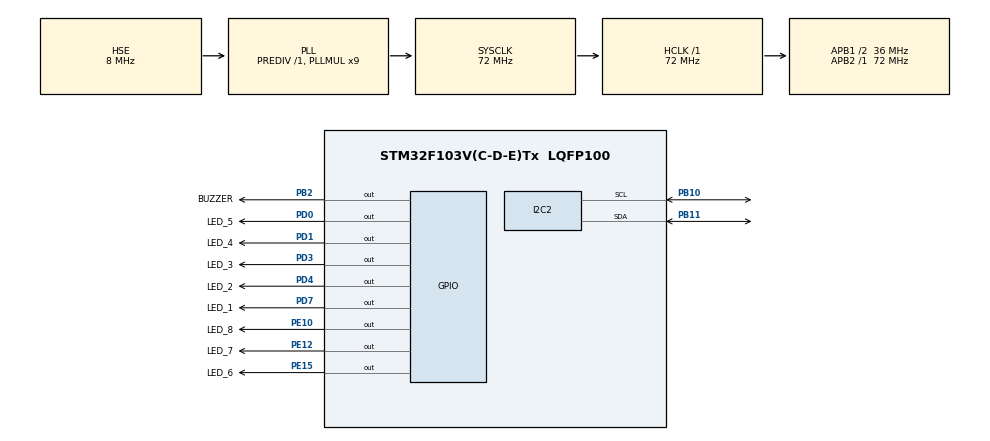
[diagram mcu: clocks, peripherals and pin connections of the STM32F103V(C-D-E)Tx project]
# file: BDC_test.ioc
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Mcu.Family=STM32F1
Mcu.Name=STM32F103V(C-D-E)Tx
Mcu.Package=LQFP100
NVIC.PriorityGroup=NVIC_PRIORITYGROUP_4
OSC_IN.Mode=HSE-External-Oscillator
OSC_IN.Signal=RCC_OSC_IN
OSC_OUT.Mode=HSE-External-Oscillator
OSC_OUT.Signal=RCC_OSC_OUT
PA13.Mode=Serial_Wire
PA13.Signal=SYS_JTMS-SWDIO
PA14.Mode=Serial_Wire
PA14.Signal=SYS_JTCK-SWCLK
PB10.Mode=I2C
PB10.Signal=I2C2_SCL
PB11.Mode=I2C
PB11.Signal=I2C2_SDA
PB2.GPIO_Label=BUZZER
PB2.GPIO_PuPd=GPIO_PULLDOWN
PB2.Signal=GPIO_Output
PD0.GPIO_Label=LED_5
PD0.Signal=GPIO_Output
PD1.GPIO_Label=LED_4
PD1.Signal=GPIO_Output
PD3.GPIO_Label=LED_3
PD3.Signal=GPIO_Output
PD4.GPIO_Label=LED_2
PD4.Signal=GPIO_Output
PD7.GPIO_Label=LED_1
PD7.Signal=GPIO_Output
PE10.GPIO_Label=LED_8
PE10.Signal=GPIO_Output
PE12.GPIO_Label=LED_7
PE12.Signal=GPIO_Output
PE15.GPIO_Label=LED_6
PE15.Signal=GPIO_Output
ProjectManager.HeapSize=0x200
ProjectManager.StackSize=0x400
ProjectManager.TargetToolchain=STM32CubeIDE
RCC.AHBFreq_Value=72000000
RCC.APB1CLKDivider=RCC_HCLK_DIV2
RCC.APB1Freq_Value=36000000
RCC.APB1TimFreq_Value=72000000
RCC.APB2Freq_Value=72000000
RCC.APB2TimFreq_Value=72000000
RCC.HCLKFreq_Value=72000000
RCC.PLLMUL=RCC_PLL_MUL9
RCC.PLLSourceVirtual=RCC_PLLSOURCE_HSE
RCC.SYSCLKFreq_VALUE=72000000
RCC.SYSCLKSource=RCC_SYSCLKSOURCE_PLLCLK
RCC.USBFreq_Value=72000000
board=custom

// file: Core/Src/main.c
/* USER CODE BEGIN Header */
/**
  ******************************************************************************
  * @file           : main.c
  * @brief          : Main program body
  ******************************************************************************
  * @attention
  *
  * <h2><center>&copy; Copyright (c) 2020 STMicroelectronics.
  * All rights reserved.</center></h2>
  *
  * This software component is licensed by ST under BSD 3-Clause license,
  * the "License"; You may not use this file except in compliance with the
  * License. You may obtain a copy of the License at:
  *                        opensource.org/licenses/BSD-3-Clause
  *
  ******************************************************************************
  */
/* USER CODE END Header */

#include "main.h"

I2C_HandleTypeDef hi2c2;

void SystemClock_Config(void);
static void MX_GPIO_Init(void);
static void MX_I2C2_Init(void);

int main(void)
{

  /* MCU Configuration--------------------------------------------------------*/

  /* Reset of all peripherals, Initializes the Flash interface and the Systick. */
  HAL_Init();

  /* Configure the system clock */
  SystemClock_Config();

  /* Initialize all configured peripherals */
  MX_GPIO_Init();
  MX_I2C2_Init();
  /* USER CODE BEGIN 2 */

  HAL_GPIO_WritePin(LED_1_GPIO_Port, LED_1_Pin, SET);
  HAL_GPIO_WritePin(LED_2_GPIO_Port, LED_2_Pin, RESET);
  HAL_GPIO_WritePin(LED_3_GPIO_Port, LED_3_Pin, SET);
  HAL_GPIO_WritePin(LED_4_GPIO_Port, LED_4_Pin, RESET);
  HAL_GPIO_WritePin(LED_5_GPIO_Port, LED_5_Pin, SET);
  HAL_GPIO_WritePin(LED_6_GPIO_Port, LED_6_Pin, RESET);
  HAL_GPIO_WritePin(LED_7_GPIO_Port, LED_7_Pin, SET);
  HAL_GPIO_WritePin(LED_8_GPIO_Port, LED_8_Pin, RESET);

  /* USER CODE END 2 */

  /* Infinite loop */
  /* USER CODE BEGIN WHILE */
  while (1)
  {

	  HAL_GPIO_TogglePin(LED_1_GPIO_Port, LED_1_Pin);
	  HAL_GPIO_TogglePin(LED_2_GPIO_Port, LED_2_Pin);
	  HAL_GPIO_TogglePin(LED_3_GPIO_Port, LED_3_Pin);
	  HAL_GPIO_TogglePin(LED_4_GPIO_Port, LED_4_Pin);
	  HAL_GPIO_TogglePin(LED_5_GPIO_Port, LED_5_Pin);
	  HAL_GPIO_TogglePin(LED_6_GPIO_Port, LED_6_Pin);
	  HAL_GPIO_TogglePin(LED_7_GPIO_Port, LED_7_Pin);
	  HAL_GPIO_TogglePin(LED_8_GPIO_Port, LED_8_Pin);

	  HAL_Delay(500);

    /* USER CODE END WHILE */

  }
}

void SystemClock_Config(void)
{
  RCC_OscInitTypeDef RCC_OscInitStruct = {0};
  RCC_ClkInitTypeDef RCC_ClkInitStruct = {0};

  /** Initializes the CPU, AHB and APB busses clocks
  */
  RCC_OscInitStruct.OscillatorType = RCC_OSCILLATORTYPE_HSE;
  RCC_OscInitStruct.HSEState = RCC_HSE_ON;
  RCC_OscInitStruct.HSEPredivValue = RCC_HSE_PREDIV_DIV1;
  RCC_OscInitStruct.HSIState = RCC_HSI_ON;
  RCC_OscInitStruct.PLL.PLLState = RCC_PLL_ON;
  RCC_OscInitStruct.PLL.PLLSource = RCC_PLLSOURCE_HSE;
  RCC_OscInitStruct.PLL.PLLMUL = RCC_PLL_MUL9;
  if (HAL_RCC_OscConfig(&RCC_OscInitStruct) != HAL_OK)
  {
    Error_Handler();
  }
  /** Initializes the CPU, AHB and APB busses clocks
  */
  RCC_ClkInitStruct.ClockType = RCC_CLOCKTYPE_HCLK|RCC_CLOCKTYPE_SYSCLK
                              |RCC_CLOCKTYPE_PCLK1|RCC_CLOCKTYPE_PCLK2;
  RCC_ClkInitStruct.SYSCLKSource = RCC_SYSCLKSOURCE_PLLCLK;
  RCC_ClkInitStruct.AHBCLKDivider = RCC_SYSCLK_DIV1;
  RCC_ClkInitStruct.APB1CLKDivider = RCC_HCLK_DIV2;
  RCC_ClkInitStruct.APB2CLKDivider = RCC_HCLK_DIV1;

  if (HAL_RCC_ClockConfig(&RCC_ClkInitStruct, FLASH_LATENCY_2) != HAL_OK)
  {
    Error_Handler();
  }
}

static void MX_I2C2_Init(void)
{

  hi2c2.Instance = I2C2;
  hi2c2.Init.ClockSpeed = 100000;
  hi2c2.Init.DutyCycle = I2C_DUTYCYCLE_2;
  hi2c2.Init.OwnAddress1 = 0;
  hi2c2.Init.AddressingMode = I2C_ADDRESSINGMODE_7BIT;
  hi2c2.Init.DualAddressMode = I2C_DUALADDRESS_DISABLE;
  hi2c2.Init.OwnAddress2 = 0;
  hi2c2.Init.GeneralCallMode = I2C_GENERALCALL_DISABLE;
  hi2c2.Init.NoStretchMode = I2C_NOSTRETCH_DISABLE;
  if (HAL_I2C_Init(&hi2c2) != HAL_OK)
  {
    Error_Handler();
  }

}

static void MX_GPIO_Init(void)
{
  GPIO_InitTypeDef GPIO_InitStruct = {0};

  /* GPIO Ports Clock Enable */
  __HAL_RCC_GPIOB_CLK_ENABLE();
  __HAL_RCC_GPIOE_CLK_ENABLE();
  __HAL_RCC_GPIOA_CLK_ENABLE();
  __HAL_RCC_GPIOD_CLK_ENABLE();

  /*Configure GPIO pin Output Level */
  HAL_GPIO_WritePin(BUZZER_GPIO_Port, BUZZER_Pin, GPIO_PIN_RESET);

  /*Configure GPIO pin Output Level */
  HAL_GPIO_WritePin(GPIOE, LED_8_Pin|LED_7_Pin|LED_6_Pin, GPIO_PIN_RESET);

  /*Configure GPIO pin Output Level */
  HAL_GPIO_WritePin(GPIOD, LED_5_Pin|LED_4_Pin|LED_3_Pin|LED_2_Pin
                          |LED_1_Pin, GPIO_PIN_RESET);

  /*Configure GPIO pin : BUZZER_Pin */
  GPIO_InitStruct.Pin = BUZZER_Pin;
  GPIO_InitStruct.Mode = GPIO_MODE_OUTPUT_PP;
  GPIO_InitStruct.Pull = GPIO_PULLDOWN;
  GPIO_InitStruct.Speed = GPIO_SPEED_FREQ_LOW;
  HAL_GPIO_Init(BUZZER_GPIO_Port, &GPIO_InitStruct);

  /*Configure GPIO pins : LED_8_Pin LED_7_Pin LED_6_Pin */
  GPIO_InitStruct.Pin = LED_8_Pin|LED_7_Pin|LED_6_Pin;
  GPIO_InitStruct.Mode = GPIO_MODE_OUTPUT_PP;
  GPIO_InitStruct.Pull = GPIO_NOPULL;
  GPIO_InitStruct.Speed = GPIO_SPEED_FREQ_LOW;
  HAL_GPIO_Init(GPIOE, &GPIO_InitStruct);

  /*Configure GPIO pins : LED_5_Pin LED_4_Pin LED_3_Pin LED_2_Pin
                           LED_1_Pin */
  GPIO_InitStruct.Pin = LED_5_Pin|LED_4_Pin|LED_3_Pin|LED_2_Pin
                          |LED_1_Pin;
  GPIO_InitStruct.Mode = GPIO_MODE_OUTPUT_PP;
  GPIO_InitStruct.Pull = GPIO_NOPULL;
  GPIO_InitStruct.Speed = GPIO_SPEED_FREQ_LOW;
  HAL_GPIO_Init(GPIOD, &GPIO_InitStruct);

}

void Error_Handler(void)
{
  /* USER CODE BEGIN Error_Handler_Debug */
  /* User can add his own implementation to report the HAL error return state */

	  HAL_GPIO_WritePin(LED_1_GPIO_Port, LED_1_Pin, SET);
	  HAL_GPIO_WritePin(LED_2_GPIO_Port, LED_2_Pin, RESET);
	  HAL_GPIO_WritePin(LED_3_GPIO_Port, LED_3_Pin, SET);
	  HAL_GPIO_WritePin(LED_4_GPIO_Port, LED_4_Pin, RESET);
	  HAL_GPIO_WritePin(LED_5_GPIO_Port, LED_5_Pin, SET);
	  HAL_GPIO_WritePin(LED_6_GPIO_Port, LED_6_Pin, RESET);
	  HAL_GPIO_WritePin(LED_7_GPIO_Port, LED_7_Pin, SET);
	  HAL_GPIO_WritePin(LED_8_GPIO_Port, LED_8_Pin, RESET);

	while(1)
	{
		  HAL_GPIO_TogglePin(LED_1_GPIO_Port, LED_1_Pin);
		  HAL_GPIO_TogglePin(LED_2_GPIO_Port, LED_2_Pin);
		  HAL_GPIO_TogglePin(LED_3_GPIO_Port, LED_3_Pin);
		  HAL_GPIO_TogglePin(LED_4_GPIO_Port, LED_4_Pin);
		  HAL_GPIO_TogglePin(LED_5_GPIO_Port, LED_5_Pin);
		  HAL_GPIO_TogglePin(LED_6_GPIO_Port, LED_6_Pin);
		  HAL_GPIO_TogglePin(LED_7_GPIO_Port, LED_7_Pin);
		  HAL_GPIO_TogglePin(LED_8_GPIO_Port, LED_8_Pin);

		  HAL_Delay(500);
	}

  /* USER CODE END Error_Handler_Debug */
}

/************************ (C) COPYRIGHT STMicroelectronics *****END OF FILE****/
